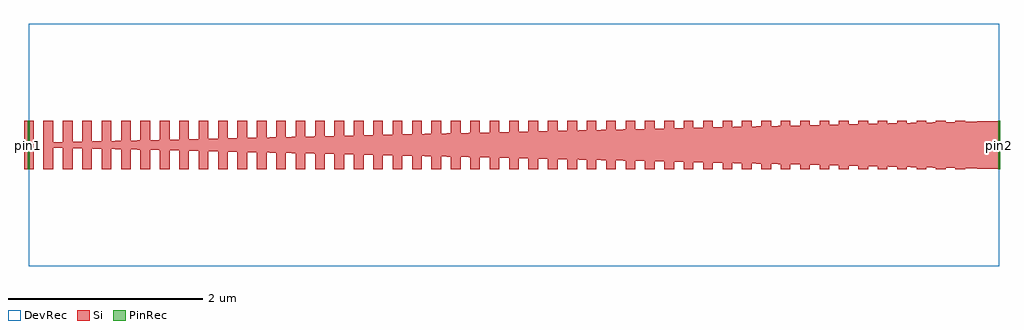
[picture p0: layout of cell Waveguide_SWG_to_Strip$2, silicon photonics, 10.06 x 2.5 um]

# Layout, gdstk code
import gdstk
lib = gdstk.Library(unit=1e-6, precision=1e-09)
def R(c, l, rs):  # rectangles x0, y0, x1, y1
    for r in rs: c.add(gdstk.rectangle(r[:2], r[2:], *l))
def A(c, l, x, y, w, h, nx, ny, dx, dy):  # array of equal rectangles
    R(c, l, [(x+i*dx, y+j*dy, x+i*dx+w, y+j*dy+h) for i in range(nx) for j in range(ny)])
def P(c, l, *ps):  # polygons
    for p in ps: c.add(gdstk.Polygon(p, *l))
Si = (1, 0)
PinRec = (1, 10)
DevRec = (68, 0)

waveguide_swg_to_strip_2 = lib.new_cell('Waveguide_SWG_to_Strip$2')
A(waveguide_swg_to_strip_2, Si, -0.05, -0.25, 0.1, 0.5, 49, 1, 0.2, 0)
P(waveguide_swg_to_strip_2, Si, [(10,-0.25),(0.204,-0.03),(0.204,0.03),(10,0.25)])
R(waveguide_swg_to_strip_2, DevRec, [(0,-1.25,10,1.25)])
waveguide_swg_to_strip_2.add(gdstk.FlexPath([(0.01,0),(-0.01,0)], 0.5, ends="flush", simple_path=True, layer=1, datatype=10))  # PinRec
waveguide_swg_to_strip_2.add(gdstk.FlexPath([(9.99,0),(10.01,0)], 0.5, ends="flush", simple_path=True, layer=1, datatype=10))  # PinRec
waveguide_swg_to_strip_2.add(gdstk.Label('pin1', (0,0), layer=1, texttype=10))
waveguide_swg_to_strip_2.add(gdstk.Label('pin2', (10,0), layer=1, texttype=10))

lib.write_gds('Waveguide_SWG_to_Strip_2.gds')
